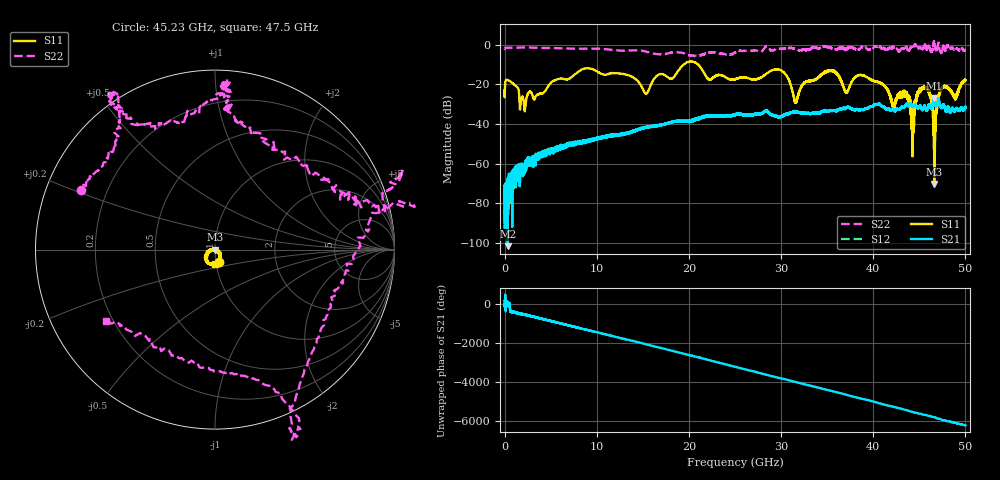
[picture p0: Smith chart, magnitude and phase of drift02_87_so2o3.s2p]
!Created with skrf (http://scikit-rf.org).
# Hz S RI R 50.0
!freq ReS11 ImS11 ReS21 ImS21 ReS12 ImS12 ReS22 ImS22
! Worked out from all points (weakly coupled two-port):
!   10001 points, 300 kHz to 50 GHz, reference 50 ohm
!   highest |S21| = -26.84 dB at 46.59 GHz (marker M1); lowest = -101.6 dB at 345.3 MHz (marker M2)
!   lowest |S11| = -70.2 dB at 46.62 GHz (marker M3), VSWR 1.00, Z = 50 - j0.0298 ohm
!   |S11| at or under -10 dB: start of sweep to 19.42 GHz; 21.00377 GHz to 21.00954 GHz (5.776 MHz wide, 0.0275 % of centre); 21.01 GHz to end of sweep
!   |S22| runs from -5.7 to 2.2 dB; largest |S21 - S12| = 0.0034
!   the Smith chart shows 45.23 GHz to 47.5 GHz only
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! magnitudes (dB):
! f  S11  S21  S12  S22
! 300 kHz  -22.9  -92.3  -78.1  -2.1
! 345.3 MHz  -17.7  -101.6  -67.8  -1.4
! 2.18 GHz  -33.4  -62.0  -65.2  -1.3
! 8.335 GHz  -12.5  -49.1  -49.0  -1.9
! 15.34 GHz  -24.6  -41.8  -41.6  -3.3
! 16.67 GHz  -15.1  -40.9  -40.8  -4.7
! 20.3 GHz  -8.4  -38.3  -38.3  -5.5
! 25 GHz  -17.3  -35.6  -35.4  -3.9
! 29.83 GHz  -12.5  -36.6  -36.5  -2.0
! 31.59 GHz  -29.0  -33.8  -34.0  -2.4
! 33.34 GHz  -18.0  -34.5  -34.5  -1.6
! 35.62 GHz  -13.2  -33.0  -33.1  -1.4
! 37.1 GHz  -24.2  -31.7  -31.7  -2.0
! 38.75 GHz  -15.2  -32.4  -32.8  -0.9
! 41.67 GHz  -23.8  -32.3  -32.3  -2.0
! 43.61 GHz  -26.1  -29.6  -29.8  -1.1
! 44.27 GHz  -34.5  -31.0  -31.0  -1.5
! 45.73 GHz  -21.3  -32.9  -32.8  -1.3
! 46.59 GHz  -37.0  -26.8  -27.2  1.9
! 46.62 GHz  -70.2  -26.9  -27.1  2.0
! 47.48 GHz  -21.8  -31.5  -31.2  -3.3
! 50 GHz  -17.9  -31.5  -31.5  -2.7
